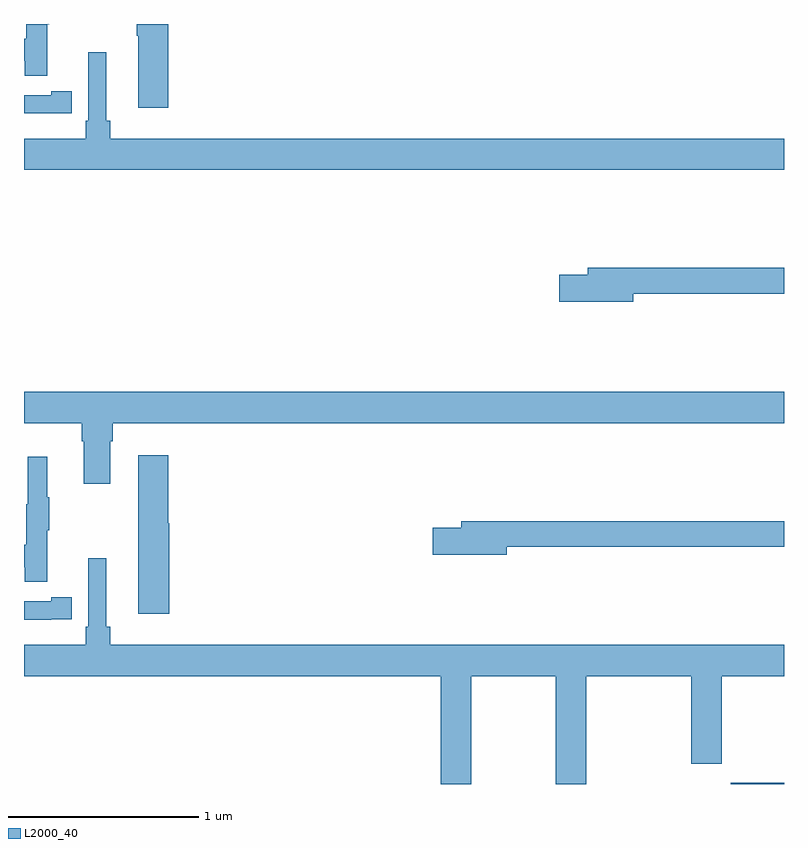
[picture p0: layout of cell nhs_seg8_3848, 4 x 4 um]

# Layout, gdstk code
import gdstk
lib = gdstk.Library(unit=1e-6, precision=1e-09)
def R(c, l, rs):  # rectangles x0, y0, x1, y1
    for r in rs: c.add(gdstk.rectangle(r[:2], r[2:], *l))
def P(c, l, *ps):  # polygons
    for p in ps: c.add(gdstk.Polygon(p, *l))
L2000_40 = (2000, 40)

nhs_seg8_3848 = lib.new_cell('nhs_seg8_3848')
R(nhs_seg8_3848, L2000_40, [(350.72,1147.9,351,1147.906)])
P(nhs_seg8_3848, L2000_40, [(347.123,1151.899),(347.134,1151.899),(347.134,1151.9),(347.013,1151.9),(347.013,1151.822),(347,1151.822),(347,1151.706),(347.005,1151.706),(347.005,1151.628),(347.123,1151.628)],
  [(347.759,1151.9),(347.593,1151.9),(347.593,1151.839),(347.6,1151.839),(347.6,1151.46),(347.759,1151.46)],
  [(351,1151.296),(347.453,1151.296),(347.453,1151.392),(347.434,1151.392),(347.434,1151.752),(347.337,1151.752),(347.337,1151.392),(347.324,1151.392),(347.324,1151.296),(347,1151.296),(347,1151.132),(351,1151.132)],
  [(347.144,1151.43),(347.252,1151.43),(347.252,1151.546),(347.144,1151.546),(347.144,1151.526),(347,1151.526),(347,1151.429),(347.144,1151.429)],
  [(350.206,1150.48),(351,1150.48),(351,1150.616),(349.967,1150.616),(349.967,1150.58),(349.818,1150.58),(349.818,1150.438),(350.206,1150.438)],
  [(347.455,1149.704),(347.468,1149.704),(347.468,1149.8),(351,1149.8),(351,1149.964),(347,1149.964),(347,1149.8),(347.303,1149.8),(347.303,1149.704),(347.315,1149.704),(347.315,1149.48),(347.455,1149.48)],
  [(347.764,1149.273),(347.759,1149.273),(347.759,1149.631),(347.6,1149.631),(347.6,1148.796),(347.764,1148.796)],
  [(347.123,1149.235),(347.134,1149.235),(347.134,1149.409),(347.123,1149.409),(347.123,1149.622),(347.02,1149.622),(347.02,1149.372),(347.013,1149.372),(347.013,1149.158),(347,1149.158),(347,1149.042),(347.005,1149.042),(347.005,1148.964),(347.123,1148.964)],
  [(349.54,1149.148),(351,1149.148),(351,1149.284),(349.301,1149.284),(349.301,1149.248),(349.152,1149.248),(349.152,1149.106),(349.54,1149.106)],
  [(349.353,1148.468),(349.798,1148.468),(349.798,1147.9),(349.958,1147.9),(349.958,1148.468),(350.513,1148.468),(350.513,1148.007),(350.673,1148.007),(350.673,1148.468),(351,1148.468),(351,1148.632),(347.453,1148.632),(347.453,1148.728),(347.434,1148.728),(347.434,1149.088),(347.337,1149.088),(347.337,1148.728),(347.324,1148.728),(347.324,1148.632),(347,1148.632),(347,1148.468),(349.193,1148.468),(349.193,1147.9),(349.353,1147.9)],
  [(347.144,1148.766),(347.252,1148.766),(347.252,1148.882),(347.144,1148.882),(347.144,1148.862),(347,1148.862),(347,1148.765),(347.144,1148.765)])

lib.write_gds('nhs_seg8_3848.gds')
